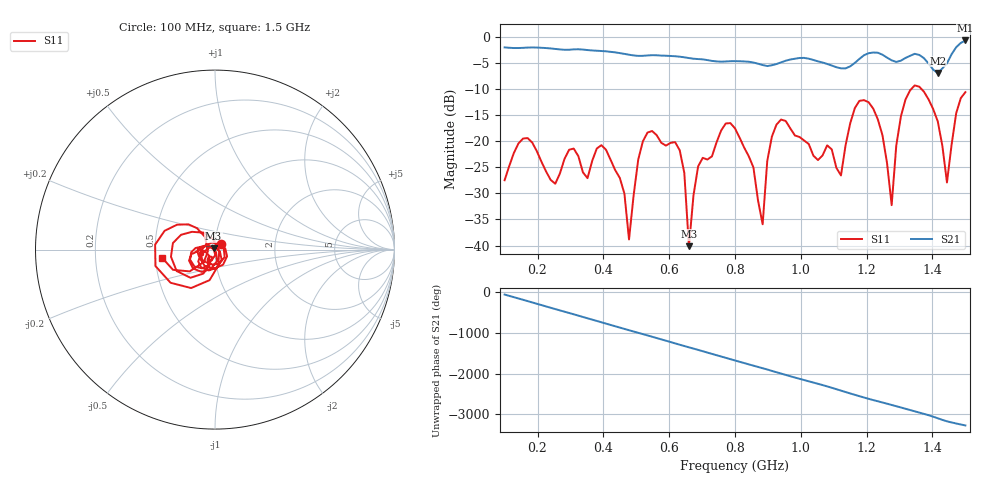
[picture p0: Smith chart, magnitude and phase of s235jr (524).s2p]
! NanoVNA-App
! Date: 2025-09-25 15:08:14
! Start: 100MHz Stop: 1,5GHz Points: 101
! S-Parameter data: F S11 S21 S12 S22
# Hz S RI R 50
!  Frequency  S11_Real  S11_Imag  S21_Real  S21_Imag  S12_Real  S12_Imag  S22_Real  S22_Imag
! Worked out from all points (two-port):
!   101 points, 100 MHz to 1.5 GHz, reference 50 ohm
!   highest |S21| = -0.63 dB at 1.5 GHz (marker M1); lowest = -6.9 dB at 1.416 GHz (marker M2)
!   |S21| within 3 dB of the highest: start of sweep to 609.8 MHz; 1.189 GHz to 1.255 GHz (65.8 MHz wide, 5.39 % of centre) (the widest 2 of 4)
!   lowest |S11| = -40.1 dB at 660 MHz (marker M3), VSWR 1.02, Z = 49.2 + j0.615 ohm
!   |S11| at or under -10 dB: start of sweep to 1.335 GHz; 1.367 GHz to end of sweep
!   S12 and S22 are empty: the file has one direction only
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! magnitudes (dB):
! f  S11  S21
! 100 MHz  -27.5  -2.0
! 170 MHz  -19.4  -2.0
! 338 MHz  -26.0  -2.4
! 408 MHz  -21.6  -2.7
! 478 MHz  -38.8  -3.4
! 520 MHz  -20.0  -3.6
! 576 MHz  -20.3  -3.5
! 632 MHz  -21.7  -3.7
! 660 MHz  -40.1  -4.0
! 688 MHz  -24.8  -4.2
! 800 MHz  -17.5  -4.6
! 884 MHz  -35.9  -5.4
! 926 MHz  -16.8  -5.2
! 1.038 GHz  -22.7  -4.4
! 1.122 GHz  -26.5  -6.0
! 1.206 GHz  -12.5  -3.1
! 1.276 GHz  -32.3  -4.4
! 1.304 GHz  -15.2  -4.5
! 1.332 GHz  -10.2  -3.6
! 1.416 GHz  -16.1  -6.9
! 1.444 GHz  -27.9  -5.0
! 1.5 GHz  -10.6  -0.6
